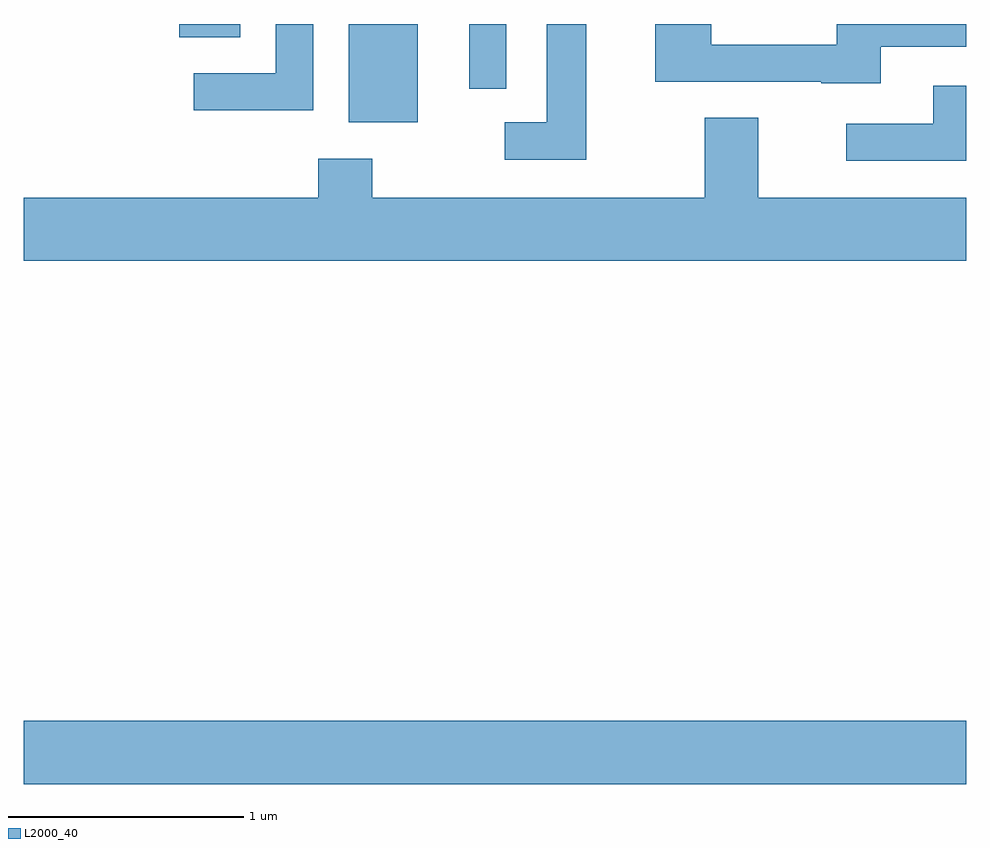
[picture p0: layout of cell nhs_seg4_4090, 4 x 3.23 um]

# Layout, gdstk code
import gdstk
lib = gdstk.Library(unit=1e-6, precision=1e-09)
def R(c, l, rs):  # rectangles x0, y0, x1, y1
    for r in rs: c.add(gdstk.rectangle(r[:2], r[2:], *l))
def P(c, l, *ps):  # polygons
    for p in ps: c.add(gdstk.Polygon(p, *l))
L2000_40 = (2000, 40)

nhs_seg4_4090 = lib.new_cell('nhs_seg4_4090')
R(nhs_seg4_4090, L2000_40, [(305.611,1274.756,309.611,1275.024), (306.991,1277.566,307.284,1277.982), (307.501,1277.708,307.659,1277.982), (306.271,1277.926,306.529,1277.982)])
P(nhs_seg4_4090, L2000_40, [(307.999,1277.982),(307.831,1277.982),(307.831,1277.564),(307.653,1277.564),(307.653,1277.406),(307.999,1277.406)],
  [(309.249,1277.886),(309.611,1277.886),(309.611,1277.982),(309.061,1277.982),(309.061,1277.894),(308.529,1277.894),(308.529,1277.982),(308.291,1277.982),(308.291,1277.736),(308.995,1277.736),(308.995,1277.731),(309.249,1277.731)],
  [(306.839,1277.982),(306.681,1277.982),(306.681,1277.774),(306.333,1277.774),(306.333,1277.616),(306.839,1277.616)],
  [(309.611,1277.719),(309.471,1277.719),(309.471,1277.559),(309.103,1277.559),(309.103,1277.401),(309.611,1277.401)],
  [(309.611,1277.244),(308.729,1277.244),(308.729,1277.584),(308.501,1277.584),(308.501,1277.244),(307.089,1277.244),(307.089,1277.409),(306.861,1277.409),(306.861,1277.244),(305.611,1277.244),(305.611,1276.976),(309.611,1276.976)])

lib.write_gds('nhs_seg4_4090.gds')
